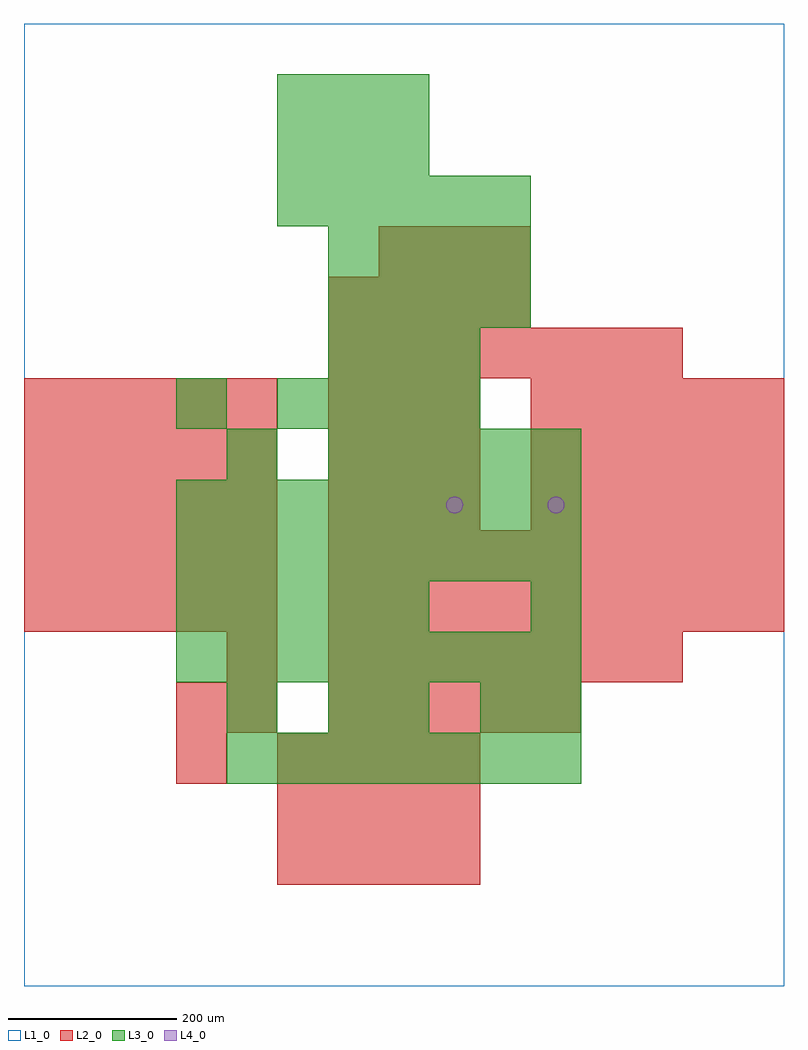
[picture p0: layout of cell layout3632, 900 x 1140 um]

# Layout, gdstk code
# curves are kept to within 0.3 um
import gdstk
lib = gdstk.Library(unit=1e-6, precision=1e-09)
def R(c, l, rs):  # rectangles x0, y0, x1, y1
    for r in rs: c.add(gdstk.rectangle(r[:2], r[2:], *l))
def A(c, l, x, y, w, h, nx, ny, dx, dy):  # array of equal rectangles
    R(c, l, [(x+i*dx, y+j*dy, x+i*dx+w, y+j*dy+h) for i in range(nx) for j in range(ny)])
def P(c, l, *ps):  # polygons
    for p in ps: c.add(gdstk.Polygon(p, *l))
L1_0 = (1, 0)
L2_0 = (2, 0)
L3_0 = (3, 0)
L4_0 = (4, 0)

layout3632 = lib.new_cell('layout3632')
R(layout3632, L1_0, [(0,0,900,1140)])
A(layout3632, L2_0, 300, 120, 60, 60, 4, 3, 60, 60)
A(layout3632, L2_0, 360, 300, 60, 60, 5, 1, 60, 0)
A(layout3632, L2_0, 360, 360, 60, 60, 7, 2, 60, 360)
A(layout3632, L2_0, 0, 420, 60, 60, 5, 5, 60, 60)
A(layout3632, L2_0, 360, 420, 60, 60, 9, 2, 60, 60)
A(layout3632, L2_0, 360, 540, 60, 60, 3, 3, 60, 60)
A(layout3632, L2_0, 600, 540, 60, 60, 5, 3, 60, 60)
A(layout3632, L2_0, 360, 780, 60, 60, 4, 1, 60, 0)
A(layout3632, L2_0, 420, 840, 60, 60, 3, 1, 60, 0)
R(layout3632, L2_0, [(180,240,240,300), (180,300,240,360), (240,300,300,360), (240,360,300,420)])
A(layout3632, L3_0, 240, 240, 60, 60, 7, 1, 60, 0)
A(layout3632, L3_0, 180, 360, 60, 60, 8, 2, 60, 120)
A(layout3632, L3_0, 180, 420, 60, 60, 5, 1, 60, 0)
A(layout3632, L3_0, 180, 540, 60, 60, 8, 1, 60, 0)
A(layout3632, L3_0, 360, 600, 60, 60, 5, 1, 60, 0)
A(layout3632, L3_0, 300, 660, 60, 60, 4, 1, 60, 0)
A(layout3632, L3_0, 360, 720, 60, 60, 3, 1, 60, 0)
A(layout3632, L3_0, 360, 780, 60, 60, 4, 2, 60, 60)
A(layout3632, L3_0, 300, 900, 60, 60, 5, 1, 60, 0)
A(layout3632, L3_0, 300, 960, 60, 60, 3, 2, 60, 60)
R(layout3632, L3_0, [(240,300,300,360), (360,300,420,360), (420,300,480,360), (540,300,600,360), (600,300,660,360), (600,420,660,480), (240,600,300,660), (180,660,240,720)])
P(layout3632, L4_0, [(520,570),(519.239,573.827),(517.071,577.071),(513.827,579.239),(510,580),(506.173,579.239),(502.929,577.071),(500.761,573.827),(500,570),(500.761,566.173),(502.929,562.929),(506.173,560.761),(510,560),(513.827,560.761),(517.071,562.929),(519.239,566.173)],
  [(640,570),(639.239,573.827),(637.071,577.071),(633.827,579.239),(630,580),(626.173,579.239),(622.929,577.071),(620.761,573.827),(620,570),(620.761,566.173),(622.929,562.929),(626.173,560.761),(630,560),(633.827,560.761),(637.071,562.929),(639.239,566.173)])

lib.write_gds('layout3632.gds')
